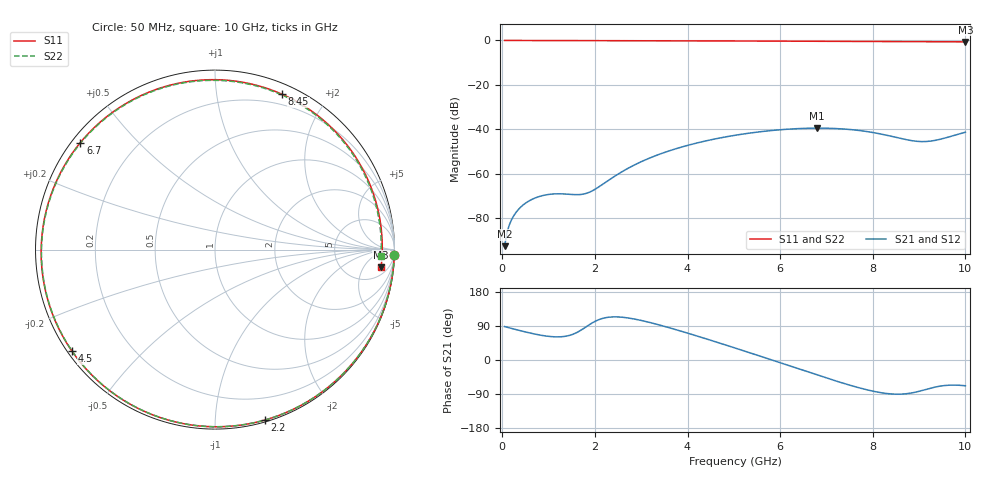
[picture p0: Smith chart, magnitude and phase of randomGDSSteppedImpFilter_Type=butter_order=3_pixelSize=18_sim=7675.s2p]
! freq	dB(S11)	phase(S11)	dB(S12)	phase(S12)
!  dB(S21)	phase(S21)	dB(S22)	phase(S22)
!S-par simulation data
#  GHz  S  DB  R 50
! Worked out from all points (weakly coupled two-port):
!   200 points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, 50 MHz to 10 GHz, reference 50 ohm
!   highest |S21| = -39.45 dB at 6.8 GHz (marker M1); lowest = -92.6 dB at 50 MHz (marker M2)
!   lowest |S11| = -0.6 dB at 10 GHz (marker M3), VSWR 27.72, Z = 432 - j641 ohm
!   |S11| at or under -10 dB: nowhere
!   |S22| runs from -0.7 to 0.0 dB; largest |S21 - S12| = 0
!   S11 on the Smith chart (normalised r, x): 50 MHz: 1, -65; 2.2 GHz: 0.01, -1.34; 4.5 GHz: 0.01, -0.32; 6.7 GHz: 0.02, +0.35; 8.45 GHz: 0.10, +1.51; 10 GHz: 9, -13
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0.05  -0.00 -1.8  -92.56 88.2  -92.56 88.2  -0.00 -1.7
0.2  -0.01 -6.9  -80.65 83.3  -80.65 83.3  -0.01 -6.6
0.45  -0.02 -15.5  -74.03 75.5  -74.03 75.5  -0.02 -14.9
0.8  -0.03 -27.5  -70.21 66.1  -70.21 66.1  -0.03 -26.3
1.1  -0.05 -37.6  -69.07 61.3  -69.07 61.3  -0.04 -36.0
1.75  -0.07 -59.1  -69.13 82.7  -69.13 82.7  -0.07 -56.8
2.2  -0.09 -73.6  -64.27 110.8  -64.27 110.8  -0.09 -70.8
2.75  -0.11 -91.0  -57.13 110.3  -57.13 110.3  -0.11 -87.7
3.4  -0.14 -111.1  -51.15 92.2  -51.15 92.2  -0.14 -107.4
4.5  -0.20 -144.7  -44.72 52.1  -44.72 52.1  -0.20 -140.8
5.05  -0.24 -161.8  -42.58 30.7  -42.58 30.7  -0.24 -157.9
5.9  -0.30 170.3  -40.36 -3.2  -40.36 -3.2  -0.31 174.1
6.7  -0.37 141.5  -39.47 -35.5  -39.47 -35.5  -0.39 145.1
6.8  -0.38 137.7  -39.45 -39.5  -39.45 -39.5  -0.40 141.2
7.65  -0.45 103.0  -40.37 -71.5  -40.37 -71.5  -0.48 106.1
8  -0.48 87.5  -41.42 -82.2  -41.42 -82.2  -0.51 90.6
8.35  -0.50 71.4  -42.88 -89.1  -42.88 -89.1  -0.54 74.4
8.45  -0.51 66.7  -43.35 -90.0  -43.35 -90.0  -0.54 69.7
8.9  -0.54 45.4  -45.26 -85.5  -45.26 -85.5  -0.58 48.5
9.25  -0.56 28.7  -45.28 -74.3  -45.28 -74.3  -0.60 31.9
9.6  -0.59 12.2  -43.67 -66.8  -43.67 -66.8  -0.63 15.6
10  -0.63 -6.2  -41.28 -68.0  -41.28 -68.0  -0.67 -2.3
